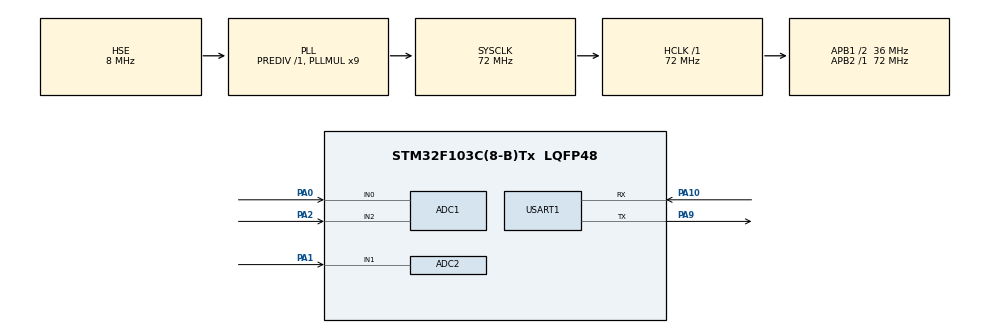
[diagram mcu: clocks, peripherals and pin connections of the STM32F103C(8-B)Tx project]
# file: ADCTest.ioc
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ADC1.Channel-1\#ChannelRegularConversion=ADC_CHANNEL_0
ADC1.ExternalTrigConv=ADC_EXTERNALTRIGCONV_T3_TRGO
ADC1.NbrOfConversionFlag=1
ADC1.Rank-1\#ChannelRegularConversion=1
ADC1.SamplingTime-1\#ChannelRegularConversion=ADC_SAMPLETIME_1CYCLE_5
ADC1.master=1
ADC2.Channel-0\#ChannelRegularConversion=ADC_CHANNEL_1
ADC2.ExternalTrigConv=ADC_EXTERNALTRIGCONV_T3_TRGO
ADC2.NbrOfConversionFlag=1
ADC2.Rank-0\#ChannelRegularConversion=1
ADC2.SamplingTime-0\#ChannelRegularConversion=ADC_SAMPLETIME_1CYCLE_5
Mcu.Family=STM32F1
Mcu.Name=STM32F103C(8-B)Tx
Mcu.Package=LQFP48
NVIC.ADC1_2_IRQn=true\:0\:0\:false\:false\:true\:true\:true\:true
NVIC.PriorityGroup=NVIC_PRIORITYGROUP_4
NVIC.TIM3_IRQn=true\:0\:0\:false\:false\:true\:true\:true\:true
PA0-WKUP.Signal=ADCx_IN0
PA1.Signal=ADCx_IN1
PA10.Mode=Asynchronous
PA10.Signal=USART1_RX
PA13.Mode=Serial_Wire
PA13.Signal=SYS_JTMS-SWDIO
PA14.Mode=Serial_Wire
PA14.Signal=SYS_JTCK-SWCLK
PA2.Signal=ADCx_IN2
PA9.Mode=Asynchronous
PA9.Signal=USART1_TX
PD0-OSC_IN.Mode=HSE-External-Oscillator
PD0-OSC_IN.Signal=RCC_OSC_IN
PD1-OSC_OUT.Mode=HSE-External-Oscillator
PD1-OSC_OUT.Signal=RCC_OSC_OUT
ProjectManager.HeapSize=0x200
ProjectManager.StackSize=0x400
ProjectManager.TargetToolchain=STM32CubeIDE
RCC.ADCPresc=RCC_ADCPCLK2_DIV8
RCC.AHBFreq_Value=72000000
RCC.APB1CLKDivider=RCC_HCLK_DIV2
RCC.APB1Freq_Value=36000000
RCC.APB1TimFreq_Value=72000000
RCC.APB2Freq_Value=72000000
RCC.APB2TimFreq_Value=72000000
RCC.HCLKFreq_Value=72000000
RCC.PLLMUL=RCC_PLL_MUL9
RCC.PLLSourceVirtual=RCC_PLLSOURCE_HSE
RCC.SYSCLKFreq_VALUE=72000000
RCC.SYSCLKSource=RCC_SYSCLKSOURCE_PLLCLK
RCC.USBFreq_Value=72000000
SH.ADCx_IN0.0=ADC1_IN0,IN0
SH.ADCx_IN1.0=ADC2_IN1,IN1
SH.ADCx_IN2.0=ADC1_IN2,IN2
TIM3.Period=99
TIM3.Prescaler=7199
TIM3.TIM_MasterOutputTrigger=TIM_TRGO_UPDATE
USART1.VirtualMode=VM_ASYNC
VP_TIM3_VS_ClockSourceINT.Mode=Internal
board=custom

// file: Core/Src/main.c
/* USER CODE BEGIN Header */
/**
  ******************************************************************************
  * @file           : main.c
  * @brief          : Main program body
  ******************************************************************************
  * @attention
  *
  * Copyright (c) 2025 STMicroelectronics.
  * All rights reserved.
  *
  * This software is licensed under terms that can be found in the LICENSE file
  * in the root directory of this software component.
  * If no LICENSE file comes with this software, it is provided AS-IS.
  *
  ******************************************************************************
  */
/* USER CODE END Header */
#include "main.h"

/* USER CODE BEGIN Includes */
#include "RingBuffer.h"
#include <stdio.h>
#include <string.h>
/* USER CODE END Includes */

ADC_HandleTypeDef hadc1;
ADC_HandleTypeDef hadc2;

TIM_HandleTypeDef htim3;

UART_HandleTypeDef huart1;

/* USER CODE BEGIN PV */
RingBuffer_t RBVoltage;
RingBuffer_t RBCurrent;
uint16_t VoltageBuff[200];
uint16_t CurrentBuff[200];
/* USER CODE END PV */

void SystemClock_Config(void);
static void MX_GPIO_Init(void);
static void MX_ADC1_Init(void);
static void MX_ADC2_Init(void);
static void MX_TIM3_Init(void);
static void MX_USART1_UART_Init(void);

/* USER CODE BEGIN 0 */
void HAL_TIM_PeriodElapsedCallback(TIM_HandleTypeDef *htim)
{
    if (htim->Instance == TIM3)  // Check if the interrupt came from TIM3
    {
        // >>> Your code here <<<
        // Example: Toggle a pin or call your function
        //NV_SendClock();

        // Optional: Small adjustable delay (in microseconds)
        // delay_us(2);   // <-- Implement if needed
    }
}

void HAL_ADC_ConvCpltCallback(ADC_HandleTypeDef* hadc)
{
    if (hadc->Instance == ADC1)
    {
        uint16_t value1 = HAL_ADC_GetValue(&hadc1);
        RingBuffer_Put(&RBVoltage,(RBDataType) value1);
    }
    else if (hadc->Instance == ADC2)
    {
        uint16_t value2 = HAL_ADC_GetValue(&hadc2);
        RingBuffer_Put(&RBCurrent,(RBDataType) value2); // <-- gravar em RBCurrent
    }
}

void UART_Print(UART_HandleTypeDef *huart, const char *msg)
{
    HAL_UART_Transmit(huart, (uint8_t*)msg, strlen(msg), HAL_MAX_DELAY);
}
/* USER CODE END 0 */

int main(void)
{

  /* MCU Configuration--------------------------------------------------------*/

  /* Reset of all peripherals, Initializes the Flash interface and the Systick. */
  HAL_Init();

  /* Configure the system clock */
  SystemClock_Config();

  /* Initialize all configured peripherals */
  MX_GPIO_Init();
  MX_ADC1_Init();
  MX_ADC2_Init();
  MX_TIM3_Init();
  MX_USART1_UART_Init();
  /* USER CODE BEGIN 2 */

  RingBuffer_Init(&RBVoltage, VoltageBuff, 200);
  RingBuffer_Init(&RBCurrent, CurrentBuff, 200);

  // enable NVIC for TIM3
  HAL_NVIC_SetPriority(TIM3_IRQn, 0, 0);
  HAL_NVIC_EnableIRQ(TIM3_IRQn);

  // start timer and enable update interrupt
  HAL_TIM_Base_Start_IT(&htim3);
  HAL_ADC_Start_IT(&hadc1);
  HAL_ADC_Start_IT(&hadc2);
  /* USER CODE END 2 */

  /* Infinite loop */
  while (1)
  {

    /* USER CODE BEGIN 3 */
    uint16_t value;
      char msg[32];

      /* Envia todas as amostras de tensão disponíveis */
      while (RingBuffer_Get(&RBVoltage, &value))
      {
          int n = snprintf(msg, sizeof(msg), "V:%u\r\n", (unsigned int)value);
          if (n > 0) UART_Print(&huart1, msg);
      }

      /* Envia todas as amostras de corrente disponíveis */
      while (RingBuffer_Get(&RBCurrent, &value))
      {
          int n = snprintf(msg, sizeof(msg), "I:%u\r\n", (unsigned int)value);
          if (n > 0) UART_Print(&huart1, msg);
      }

      HAL_Delay(1);
  }
  /* USER CODE END 3 */
}

void SystemClock_Config(void)
{
  RCC_OscInitTypeDef RCC_OscInitStruct = {0};
  RCC_ClkInitTypeDef RCC_ClkInitStruct = {0};
  RCC_PeriphCLKInitTypeDef PeriphClkInit = {0};

  /** Initializes the RCC Oscillators according to the specified parameters
  * in the RCC_OscInitTypeDef structure.
  */
  RCC_OscInitStruct.OscillatorType = RCC_OSCILLATORTYPE_HSE;
  RCC_OscInitStruct.HSEState = RCC_HSE_ON;
  RCC_OscInitStruct.HSEPredivValue = RCC_HSE_PREDIV_DIV1;
  RCC_OscInitStruct.HSIState = RCC_HSI_ON;
  RCC_OscInitStruct.PLL.PLLState = RCC_PLL_ON;
  RCC_OscInitStruct.PLL.PLLSource = RCC_PLLSOURCE_HSE;
  RCC_OscInitStruct.PLL.PLLMUL = RCC_PLL_MUL9;
  if (HAL_RCC_OscConfig(&RCC_OscInitStruct) != HAL_OK)
  {
    Error_Handler();
  }

  /** Initializes the CPU, AHB and APB buses clocks
  */
  RCC_ClkInitStruct.ClockType = RCC_CLOCKTYPE_HCLK|RCC_CLOCKTYPE_SYSCLK
                              |RCC_CLOCKTYPE_PCLK1|RCC_CLOCKTYPE_PCLK2;
  RCC_ClkInitStruct.SYSCLKSource = RCC_SYSCLKSOURCE_PLLCLK;
  RCC_ClkInitStruct.AHBCLKDivider = RCC_SYSCLK_DIV1;
  RCC_ClkInitStruct.APB1CLKDivider = RCC_HCLK_DIV2;
  RCC_ClkInitStruct.APB2CLKDivider = RCC_HCLK_DIV1;

  if (HAL_RCC_ClockConfig(&RCC_ClkInitStruct, FLASH_LATENCY_2) != HAL_OK)
  {
    Error_Handler();
  }
  PeriphClkInit.PeriphClockSelection = RCC_PERIPHCLK_ADC;
  PeriphClkInit.AdcClockSelection = RCC_ADCPCLK2_DIV8;
  if (HAL_RCCEx_PeriphCLKConfig(&PeriphClkInit) != HAL_OK)
  {
    Error_Handler();
  }
}

static void MX_ADC1_Init(void)
{

  ADC_ChannelConfTypeDef sConfig = {0};

  /** Common config
  */
  hadc1.Instance = ADC1;
  hadc1.Init.ScanConvMode = ADC_SCAN_DISABLE;
  hadc1.Init.ContinuousConvMode = DISABLE;
  hadc1.Init.DiscontinuousConvMode = DISABLE;
  hadc1.Init.ExternalTrigConv = ADC_EXTERNALTRIGCONV_T3_TRGO;
  hadc1.Init.DataAlign = ADC_DATAALIGN_RIGHT;
  hadc1.Init.NbrOfConversion = 1;
  if (HAL_ADC_Init(&hadc1) != HAL_OK)
  {
    Error_Handler();
  }

  /** Configure Regular Channel
  */
  sConfig.Channel = ADC_CHANNEL_0;
  sConfig.Rank = ADC_REGULAR_RANK_1;
  sConfig.SamplingTime = ADC_SAMPLETIME_1CYCLE_5;
  if (HAL_ADC_ConfigChannel(&hadc1, &sConfig) != HAL_OK)
  {
    Error_Handler();
  }
  /* USER CODE BEGIN ADC1_Init 2 */
	__HAL_RCC_PWR_CLK_ENABLE();      // enable PWR clock if not already
	PWR->CSR &= ~PWR_CSR_EWUP;       // clear EWUP (disable external wakeup pin)
	__NOP();                         // small delay

	GPIO_InitTypeDef GPIO_InitStruct = {0};
	__HAL_RCC_GPIOA_CLK_ENABLE();

	GPIO_InitStruct.Pin = GPIO_PIN_0;
	GPIO_InitStruct.Mode = GPIO_MODE_ANALOG;
	GPIO_InitStruct.Pull = GPIO_NOPULL;
	HAL_GPIO_Init(GPIOA, &GPIO_InitStruct);
  /* USER CODE END ADC1_Init 2 */

}

static void MX_ADC2_Init(void)
{

  ADC_ChannelConfTypeDef sConfig = {0};

  /** Common config
  */
  hadc2.Instance = ADC2;
  hadc2.Init.ScanConvMode = ADC_SCAN_DISABLE;
  hadc2.Init.ContinuousConvMode = DISABLE;
  hadc2.Init.DiscontinuousConvMode = DISABLE;
  hadc2.Init.ExternalTrigConv = ADC_EXTERNALTRIGCONV_T3_TRGO;
  hadc2.Init.DataAlign = ADC_DATAALIGN_RIGHT;
  hadc2.Init.NbrOfConversion = 1;
  if (HAL_ADC_Init(&hadc2) != HAL_OK)
  {
    Error_Handler();
  }

  /** Configure Regular Channel
  */
  sConfig.Channel = ADC_CHANNEL_1;
  sConfig.Rank = ADC_REGULAR_RANK_1;
  sConfig.SamplingTime = ADC_SAMPLETIME_1CYCLE_5;
  if (HAL_ADC_ConfigChannel(&hadc2, &sConfig) != HAL_OK)
  {
    Error_Handler();
  }

}

static void MX_TIM3_Init(void)
{

  TIM_ClockConfigTypeDef sClockSourceConfig = {0};
  TIM_MasterConfigTypeDef sMasterConfig = {0};

  htim3.Instance = TIM3;
  htim3.Init.Prescaler = 7199;
  htim3.Init.CounterMode = TIM_COUNTERMODE_UP;
  htim3.Init.Period = 99;
  htim3.Init.ClockDivision = TIM_CLOCKDIVISION_DIV1;
  htim3.Init.AutoReloadPreload = TIM_AUTORELOAD_PRELOAD_DISABLE;
  if (HAL_TIM_Base_Init(&htim3) != HAL_OK)
  {
    Error_Handler();
  }
  sClockSourceConfig.ClockSource = TIM_CLOCKSOURCE_INTERNAL;
  if (HAL_TIM_ConfigClockSource(&htim3, &sClockSourceConfig) != HAL_OK)
  {
    Error_Handler();
  }
  sMasterConfig.MasterOutputTrigger = TIM_TRGO_UPDATE;
  sMasterConfig.MasterSlaveMode = TIM_MASTERSLAVEMODE_DISABLE;
  if (HAL_TIMEx_MasterConfigSynchronization(&htim3, &sMasterConfig) != HAL_OK)
  {
    Error_Handler();
  }

}

static void MX_USART1_UART_Init(void)
{

  huart1.Instance = USART1;
  huart1.Init.BaudRate = 115200;
  huart1.Init.WordLength = UART_WORDLENGTH_8B;
  huart1.Init.StopBits = UART_STOPBITS_1;
  huart1.Init.Parity = UART_PARITY_NONE;
  huart1.Init.Mode = UART_MODE_TX_RX;
  huart1.Init.HwFlowCtl = UART_HWCONTROL_NONE;
  huart1.Init.OverSampling = UART_OVERSAMPLING_16;
  if (HAL_UART_Init(&huart1) != HAL_OK)
  {
    Error_Handler();
  }

}

static void MX_GPIO_Init(void)
{

  /* GPIO Ports Clock Enable */
  __HAL_RCC_GPIOD_CLK_ENABLE();
  __HAL_RCC_GPIOA_CLK_ENABLE();

}

void Error_Handler(void)
{
  __disable_irq();
  while (1)
  {
  }
}
